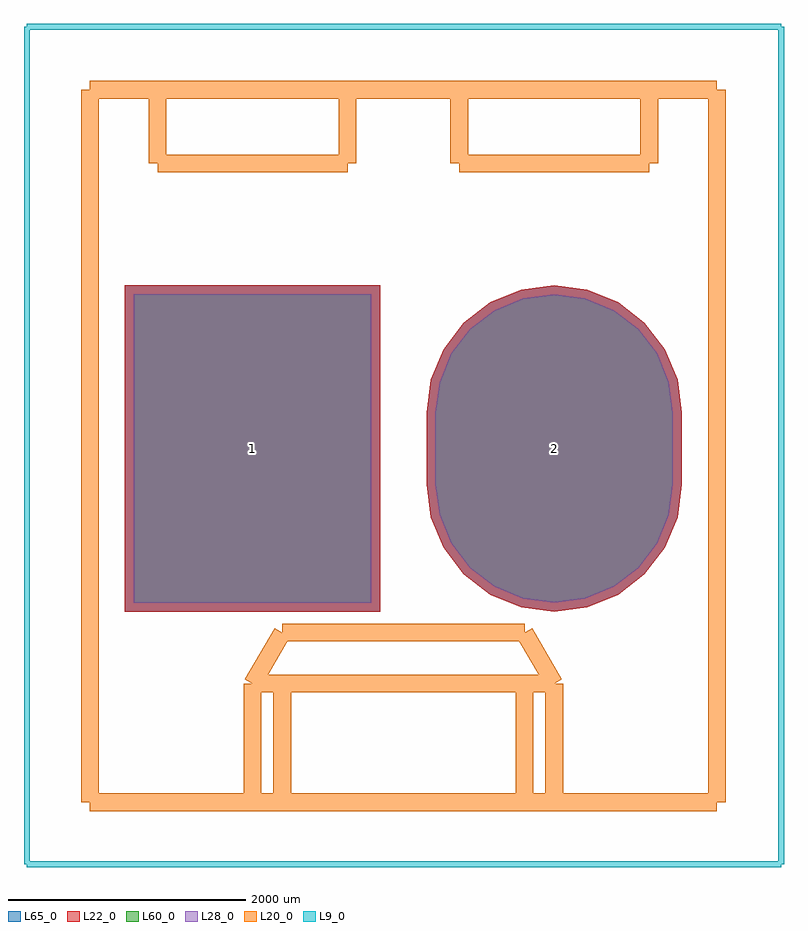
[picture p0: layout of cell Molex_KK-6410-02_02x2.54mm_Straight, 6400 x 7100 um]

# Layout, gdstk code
import gdstk
lib = gdstk.Library(unit=1e-6, precision=1e-09)
def R(c, l, rs):  # rectangles x0, y0, x1, y1
    for r in rs: c.add(gdstk.rectangle(r[:2], r[2:], *l))
def P(c, l, *ps):  # polygons
    for p in ps: c.add(gdstk.Polygon(p, *l))
L9_0 = (9, 0)
L20_0 = (20, 0)
L22_0 = (22, 0)
L28_0 = (28, 0)
L60_0 = (60, 0)
L65_0 = (65, 0)

molex_kk_6410_02_02x2_54 = lib.new_cell('Molex_KK-6410-02_02x2.54mm_Straight')
R(molex_kk_6410_02_02x2_54, L22_0, [(-1075,-1375,1075,1375)])
P(molex_kk_6410_02_02x2_54, L22_0, [(2540,-1375),(2818.23,-1338.37),(3077.5,-1230.977),(3300.14,-1060.14),(3470.977,-837.5),(3578.37,-578.23),(3615,-300),(3615,300),(3578.37,578.23),(3470.977,837.5),(3300.14,1060.14),(3077.5,1230.977),(2818.23,1338.37),(2540,1375),(2261.77,1338.37),(2002.5,1230.977),(1779.86,1060.14),(1609.023,837.5),(1501.63,578.23),(1465,300),(1465,-300),(1501.63,-578.23),(1609.023,-837.5),(1779.86,-1060.14),(2002.5,-1230.977),(2261.77,-1338.37)])
R(molex_kk_6410_02_02x2_54, L28_0, [(-1000,-1300,1000,1300)])
P(molex_kk_6410_02_02x2_54, L28_0, [(2540,-1300),(2798.819,-1265.926),(3040,-1166.025),(3247.107,-1007.107),(3406.025,-800),(3505.926,-558.819),(3540,-300),(3540,300),(3505.926,558.819),(3406.025,800),(3247.107,1007.107),(3040,1166.025),(2798.819,1265.926),(2540,1300),(2281.181,1265.926),(2040,1166.025),(1832.893,1007.107),(1673.975,800),(1574.074,558.819),(1540,300),(1540,-300),(1574.074,-558.819),(1673.975,-800),(1832.893,-1007.107),(2040,-1166.025),(2281.181,-1265.926)])
R(molex_kk_6410_02_02x2_54, L60_0, [(-1000,-1300,1000,1300)])
P(molex_kk_6410_02_02x2_54, L60_0, [(2540,-1300),(2798.819,-1265.926),(3040,-1166.025),(3247.107,-1007.107),(3406.025,-800),(3505.926,-558.819),(3540,-300),(3540,300),(3505.926,558.819),(3406.025,800),(3247.107,1007.107),(3040,1166.025),(2798.819,1265.926),(2540,1300),(2281.181,1265.926),(2040,1166.025),(1832.893,1007.107),(1673.975,800),(1574.074,558.819),(1540,300),(1540,-300),(1574.074,-558.819),(1673.975,-800),(1832.893,-1007.107),(2040,-1166.025),(2281.181,-1265.926)])
R(molex_kk_6410_02_02x2_54, L65_0, [(-1075,-1375,1075,1375)])
P(molex_kk_6410_02_02x2_54, L65_0, [(2540,-1375),(2818.23,-1338.37),(3077.5,-1230.977),(3300.14,-1060.14),(3470.977,-837.5),(3578.37,-578.23),(3615,-300),(3615,300),(3578.37,578.23),(3470.977,837.5),(3300.14,1060.14),(3077.5,1230.977),(2818.23,1338.37),(2540,1375),(2261.77,1338.37),(2002.5,1230.977),(1779.86,1060.14),(1609.023,837.5),(1501.63,578.23),(1465,300),(1465,-300),(1501.63,-578.23),(1609.023,-837.5),(1779.86,-1060.14),(2002.5,-1230.977),(2261.77,-1338.37)])
molex_kk_6410_02_02x2_54.add(gdstk.FlexPath([(4450,-3500),(-1900,-3500)], 50, ends="flush", simple_path=True, layer=9, datatype=0))  # L9_0
molex_kk_6410_02_02x2_54.add(gdstk.FlexPath([(4450,3550),(4450,-3500)], 50, ends="flush", simple_path=True, layer=9, datatype=0))  # L9_0
molex_kk_6410_02_02x2_54.add(gdstk.FlexPath([(-1900,3550),(4450,3550)], 50, ends="flush", simple_path=True, layer=9, datatype=0))  # L9_0
molex_kk_6410_02_02x2_54.add(gdstk.FlexPath([(-1900,-3500),(-1900,3550)], 50, ends="flush", simple_path=True, layer=9, datatype=0))  # L9_0
molex_kk_6410_02_02x2_54.add(gdstk.FlexPath([(3340,2400),(3340,3020)], 149.998, ends="flush", simple_path=True, layer=20, datatype=0))  # L20_0
molex_kk_6410_02_02x2_54.add(gdstk.FlexPath([(1740,2400),(3340,2400)], 149.998, ends="flush", simple_path=True, layer=20, datatype=0))  # L20_0
molex_kk_6410_02_02x2_54.add(gdstk.FlexPath([(1740,3020),(1740,2400)], 149.998, ends="flush", simple_path=True, layer=20, datatype=0))  # L20_0
molex_kk_6410_02_02x2_54.add(gdstk.FlexPath([(800,2400),(800,3020)], 149.998, ends="flush", simple_path=True, layer=20, datatype=0))  # L20_0
molex_kk_6410_02_02x2_54.add(gdstk.FlexPath([(-800,2400),(800,2400)], 149.998, ends="flush", simple_path=True, layer=20, datatype=0))  # L20_0
molex_kk_6410_02_02x2_54.add(gdstk.FlexPath([(-800,3020),(-800,2400)], 149.998, ends="flush", simple_path=True, layer=20, datatype=0))  # L20_0
molex_kk_6410_02_02x2_54.add(gdstk.FlexPath([(2290,-2980),(2290,-1980)], 149.998, ends="flush", simple_path=True, layer=20, datatype=0))  # L20_0
molex_kk_6410_02_02x2_54.add(gdstk.FlexPath([(250,-2980),(250,-1980)], 149.998, ends="flush", simple_path=True, layer=20, datatype=0))  # L20_0
molex_kk_6410_02_02x2_54.add(gdstk.FlexPath([(2290,-1550),(2540,-1980)], 149.998, ends="flush", simple_path=True, layer=20, datatype=0))  # L20_0
molex_kk_6410_02_02x2_54.add(gdstk.FlexPath([(250,-1550),(2290,-1550)], 149.998, ends="flush", simple_path=True, layer=20, datatype=0))  # L20_0
molex_kk_6410_02_02x2_54.add(gdstk.FlexPath([(0,-1980),(250,-1550)], 149.998, ends="flush", simple_path=True, layer=20, datatype=0))  # L20_0
molex_kk_6410_02_02x2_54.add(gdstk.FlexPath([(2540,-1980),(2540,-2980)], 149.998, ends="flush", simple_path=True, layer=20, datatype=0))  # L20_0
molex_kk_6410_02_02x2_54.add(gdstk.FlexPath([(0,-1980),(2540,-1980)], 149.998, ends="flush", simple_path=True, layer=20, datatype=0))  # L20_0
molex_kk_6410_02_02x2_54.add(gdstk.FlexPath([(0,-2980),(0,-1980)], 149.998, ends="flush", simple_path=True, layer=20, datatype=0))  # L20_0
molex_kk_6410_02_02x2_54.add(gdstk.FlexPath([(3910,3020),(-1370,3020)], 149.998, ends="flush", simple_path=True, layer=20, datatype=0))  # L20_0
molex_kk_6410_02_02x2_54.add(gdstk.FlexPath([(3910,-2980),(3910,3020)], 149.998, ends="flush", simple_path=True, layer=20, datatype=0))  # L20_0
molex_kk_6410_02_02x2_54.add(gdstk.FlexPath([(-1370,-2980),(3910,-2980)], 149.998, ends="flush", simple_path=True, layer=20, datatype=0))  # L20_0
molex_kk_6410_02_02x2_54.add(gdstk.FlexPath([(-1370,3020),(-1370,-2980)], 149.998, ends="flush", simple_path=True, layer=20, datatype=0))  # L20_0
molex_kk_6410_02_02x2_54.add(gdstk.Label('2', (2540,0), layer=28, texttype=0))
molex_kk_6410_02_02x2_54.add(gdstk.Label('1', (0,0), layer=28, texttype=0))
molex_kk_6410_02_02x2_54.add(gdstk.Label('type', (1270,-4500), layer=9, texttype=0))
molex_kk_6410_02_02x2_54.add(gdstk.Label('devicename', (1000,4500), layer=9, texttype=0))

lib.write_gds('Molex_KK-6410-02_02x2.54mm_Straight.gds')
